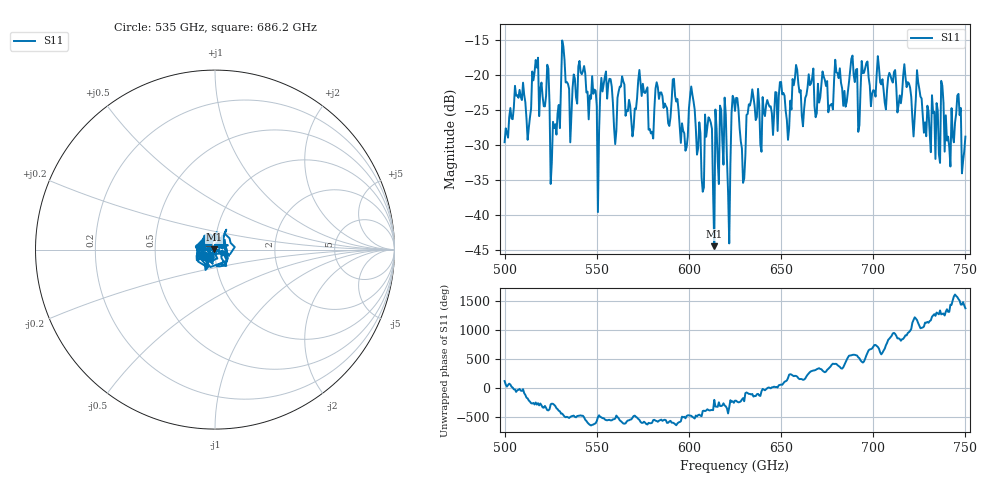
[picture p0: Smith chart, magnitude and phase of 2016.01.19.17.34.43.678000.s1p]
!Created with skrf (http://scikit-rf.org).
# GHz S RI R 50.0
!freq ReS11 ImS11
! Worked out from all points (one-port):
!   401 points, 500 GHz to 750 GHz, reference 50 ohm
!   lowest |S11| = -44.4 dB at 613.8 GHz (marker M1), VSWR 1.01, Z = 49.4 + j0.227 ohm
!   |S11| at or under -10 dB: start of sweep to end of sweep
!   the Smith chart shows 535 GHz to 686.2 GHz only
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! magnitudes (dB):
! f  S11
! 500 GHz  -29.6
! 506.9 GHz  -22.9
! 513.1 GHz  -27.6
! 516.9 GHz  -17.9
! 526.2 GHz  -26.7
! 531.2 GHz  -15.1
! 535.6 GHz  -29.6
! 541.9 GHz  -19.9
! 550.6 GHz  -39.5
! 553.8 GHz  -21.3
! 560 GHz  -29.9
! 562.5 GHz  -21.7
! 570 GHz  -27.5
! 573.8 GHz  -21.1
! 579.4 GHz  -28.4
! 583.1 GHz  -21.8
! 593.8 GHz  -23.5
! 613.8 GHz  -44.4
! 618.1 GHz  -29.4
! 621.9 GHz  -44.0
! 625 GHz  -25.2
! 629.4 GHz  -35.4
! 633.8 GHz  -23.6
! 656.2 GHz  -20.6
! 687.5 GHz  -19.3
! 718.8 GHz  -21.1
! 746.2 GHz  -22.7
! 750 GHz  -28.8
